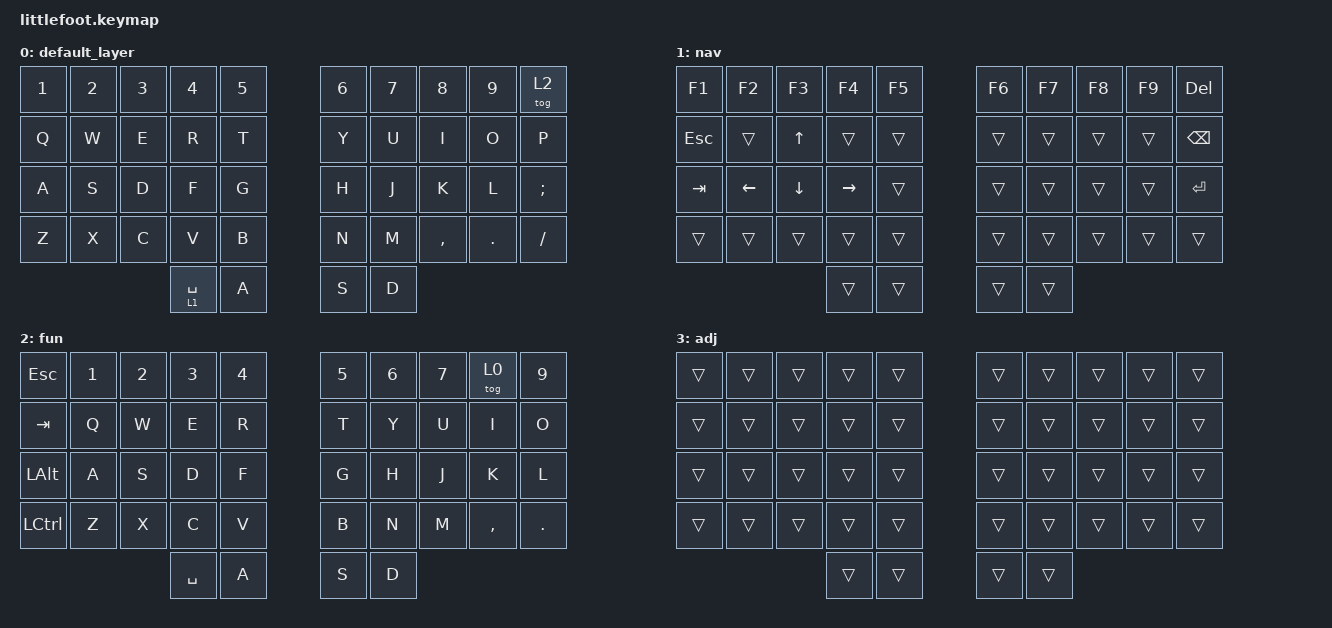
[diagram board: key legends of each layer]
#include <behaviors.dtsi>
#include <dt-bindings/zmk/bt.h>
#include <dt-bindings/zmk/keys.h>

/ {
    keymap {
        compatible = "zmk,keymap";

        default_layer {
            bindings = <
 &kp N1  &kp N2       &kp N3  &kp N4  &kp N5  &kp N6  &kp N7     &kp N8       &kp NUMBER_9     &tog 2
 &kp Q   &kp W        &kp E   &kp R   &kp T   &kp Y   &kp U      &kp I        &kp O            &kp P
 &kp A   &kp S        &kp D   &kp F   &kp G   &kp H   &kp J      &kp K        &kp L            &kp SEMI
 &kp Z   &kp X        &kp C   &kp V   &kp B   &kp N   &kp M      &kp COMMA    &kp DOT          &kp FSLH
         &lt 1 SPACE              &kp A          &kp S                        &kp D
            >;
        };

        nav {
            bindings = <
    &kp F1          &kp F2              &kp F3                 &kp F4           &kp F5  &kp F6  &kp F7  &kp F8  &kp F9      &kp DELETE
    &kp ESCAPE      &trans              &kp UP_ARROW           &trans           &trans  &trans  &trans  &trans  &trans      &kp BSPC
    &kp TAB         &kp LEFT_ARROW      &kp DOWN               &kp RIGHT_ARROW  &trans  &trans  &trans  &trans  &trans      &kp RET
    &trans          &trans              &trans                 &trans           &trans  &trans  &trans  &trans  &trans      &trans
                                &trans                                   &trans              &trans             &trans
            >;
        };

        fun {
            bindings = <
     &kp ESC           &kp N1     &kp N2  &kp N3  &kp N4  &kp N5  &kp N6  &kp N7     &tog 0     &kp N9
     &kp TAB           &kp Q      &kp W   &kp E   &kp R   &kp T   &kp Y   &kp U      &kp I      &kp O
     &kp LEFT_ALT      &kp A      &kp S   &kp D   &kp F   &kp G   &kp H   &kp J      &kp K      &kp L
     &kp LCTRL         &kp Z      &kp X   &kp C   &kp V   &kp B   &kp N   &kp M      &kp COMMA  &kp DOT
                      &kp SPACE             &kp A             &kp S                  &kp D
            >;
        };

        adj {
            bindings = <
&trans  &trans  &trans  &trans  &trans  &trans  &trans  &trans  &trans  &trans
&trans  &trans  &trans  &trans  &trans  &trans  &trans  &trans  &trans  &trans
&trans  &trans  &trans  &trans  &trans  &trans  &trans  &trans  &trans  &trans
&trans  &trans  &trans  &trans  &trans  &trans  &trans  &trans  &trans  &trans
          &trans             &trans          &trans             &trans
            >;
        };
    };
};
